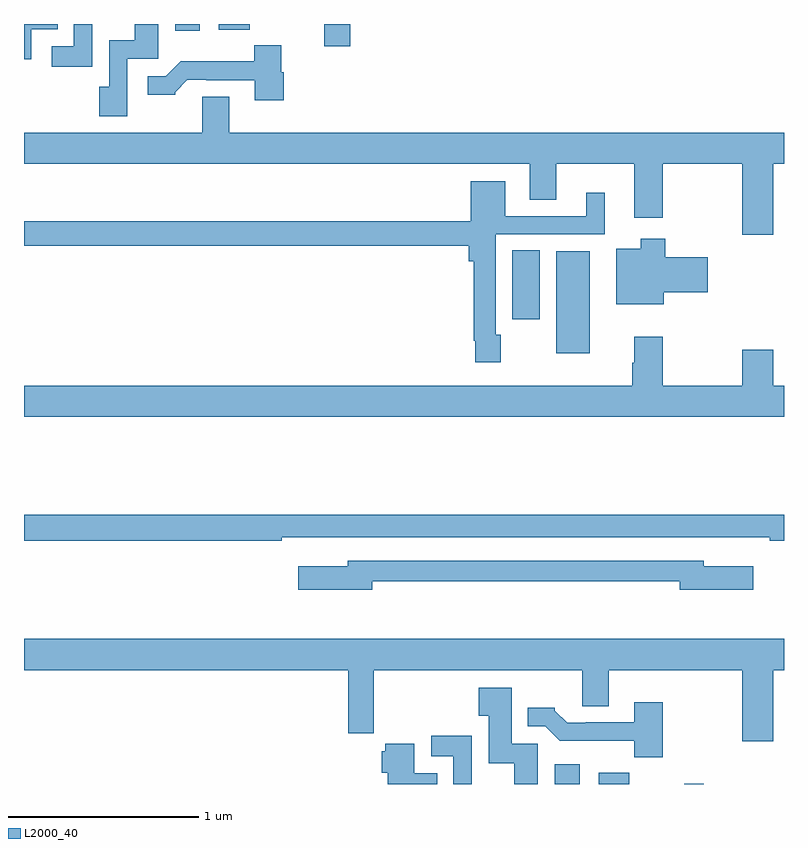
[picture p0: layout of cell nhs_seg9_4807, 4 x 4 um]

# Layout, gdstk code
import gdstk
lib = gdstk.Library(unit=1e-6, precision=1e-09)
def R(c, l, rs):  # rectangles x0, y0, x1, y1
    for r in rs: c.add(gdstk.rectangle(r[:2], r[2:], *l))
def P(c, l, *ps):  # polygons
    for p in ps: c.add(gdstk.Polygon(p, *l))
L2000_40 = (2000, 40)

nhs_seg9_4807 = lib.new_cell('nhs_seg9_4807')
R(nhs_seg9_4807, L2000_40, [(391.793,1182.5,391.924,1182.604), (392.024,1182.5,392.186,1182.559), (392.474,1182.5,392.578,1182.502), (391.802,1184.768,391.978,1185.304), (391.571,1184.946,391.714,1185.308), (390.581,1186.383,390.716,1186.5), (389.795,1186.464,389.926,1186.5), (390.026,1186.469,390.188,1186.5)])
P(nhs_seg9_4807, L2000_40, [(389.038,1186.472),(389.177,1186.472),(389.177,1186.5),(389,1186.5),(389,1186.315),(389.038,1186.315)],
  [(389.358,1186.5),(389.262,1186.5),(389.262,1186.383),(389.145,1186.383),(389.145,1186.275),(389.358,1186.275)],
  [(389.544,1186.317),(389.707,1186.317),(389.707,1186.5),(389.582,1186.5),(389.582,1186.414),(389.448,1186.414),(389.448,1186.17),(389.396,1186.17),(389.396,1186.014),(389.544,1186.014)],
  [(390.368,1186.245),(390.355,1186.245),(390.355,1186.387),(390.213,1186.387),(390.213,1186.303),(389.824,1186.303),(389.745,1186.224),(389.652,1186.224),(389.652,1186.127),(389.796,1186.127),(389.796,1186.142),(389.86,1186.206),(389.959,1186.206),(389.959,1186.203),(390.215,1186.203),(390.215,1186.098),(390.368,1186.098)],
  [(392.944,1185.764),(393,1185.764),(393,1185.928),(390.079,1185.928),(390.079,1186.118),(389.939,1186.118),(389.939,1185.928),(389,1185.928),(389,1185.764),(391.661,1185.764),(391.661,1185.574),(391.801,1185.574),(391.801,1185.764),(392.213,1185.764),(392.213,1185.48),(392.361,1185.48),(392.361,1185.764),(392.78,1185.764),(392.78,1185.39),(392.944,1185.39)],
  [(391.509,1184.865),(391.482,1184.865),(391.482,1185.393),(392.056,1185.393),(392.056,1185.613),(391.958,1185.613),(391.958,1185.489),(391.534,1185.489),(391.534,1185.673),(391.352,1185.673),(391.352,1185.463),(389,1185.463),(389,1185.334),(391.34,1185.334),(391.34,1185.251),(391.366,1185.251),(391.366,1184.833),(391.374,1184.833),(391.374,1184.721),(391.509,1184.721)],
  [(392.368,1185.089),(392.599,1185.089),(392.599,1185.272),(392.376,1185.272),(392.376,1185.37),(392.246,1185.37),(392.246,1185.316),(392.117,1185.316),(392.117,1185.026),(392.368,1185.026)],
  [(393,1184.596),(392.944,1184.596),(392.944,1184.785),(392.78,1184.785),(392.78,1184.596),(392.361,1184.596),(392.361,1184.854),(392.213,1184.854),(392.213,1184.717),(392.201,1184.717),(392.201,1184.596),(389,1184.596),(389,1184.432),(393,1184.432)],
  [(390.356,1183.799),(390.608,1183.799),(390.608,1183.8),(392.674,1183.8),(392.674,1183.799),(392.926,1183.799),(392.926,1183.78),(393,1183.78),(393,1183.916),(389,1183.916),(389,1183.78),(390.356,1183.78)],
  [(390.832,1183.566),(392.45,1183.566),(392.45,1183.523),(392.839,1183.523),(392.839,1183.645),(392.578,1183.645),(392.578,1183.674),(390.704,1183.674),(390.704,1183.645),(390.444,1183.645),(390.444,1183.523),(390.832,1183.523)],
  [(392.944,1183.1),(393,1183.1),(393,1183.264),(389,1183.264),(389,1183.1),(390.706,1183.1),(390.706,1182.768),(390.842,1182.768),(390.842,1183.1),(391.937,1183.1),(391.937,1182.91),(392.077,1182.91),(392.077,1183.1),(392.78,1183.1),(392.78,1182.726),(392.944,1182.726)],
  [(391.705,1182.711),(391.567,1182.711),(391.567,1183.006),(391.394,1183.006),(391.394,1182.859),(391.445,1182.859),(391.445,1182.608),(391.58,1182.608),(391.58,1182.5),(391.705,1182.5)],
  [(392.361,1182.931),(392.213,1182.931),(392.213,1182.825),(391.957,1182.825),(391.957,1182.822),(391.858,1182.822),(391.794,1182.886),(391.794,1182.901),(391.652,1182.901),(391.652,1182.804),(391.743,1182.804),(391.819,1182.728),(392.211,1182.728),(392.211,1182.641),(392.361,1182.641)],
  [(391.356,1182.754),(391.143,1182.754),(391.143,1182.645),(391.26,1182.645),(391.26,1182.5),(391.356,1182.5)],
  [(391.175,1182.556),(391.054,1182.556),(391.054,1182.713),(390.902,1182.713),(390.902,1182.672),(390.884,1182.672),(390.884,1182.558),(390.914,1182.558),(390.914,1182.5),(391.175,1182.5)])

lib.write_gds('nhs_seg9_4807.gds')
